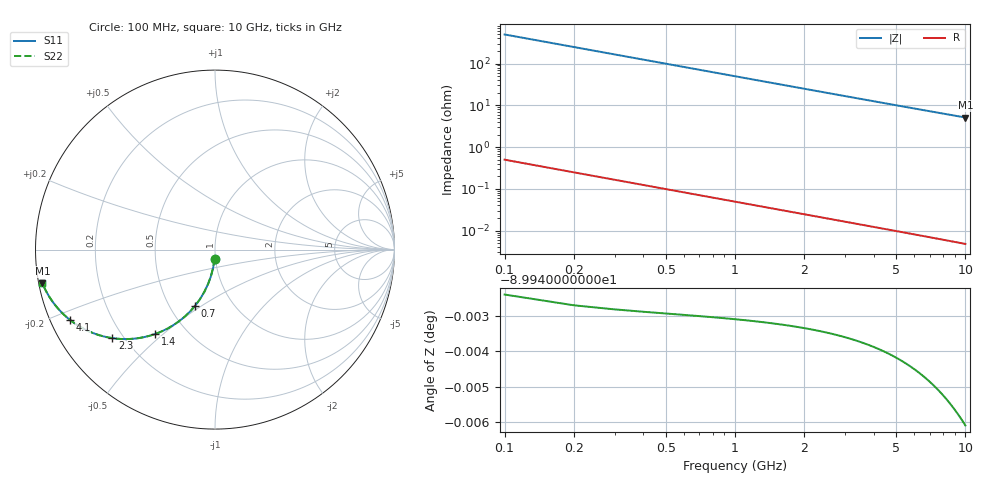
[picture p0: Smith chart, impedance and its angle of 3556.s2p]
# Hz S RI R 50.00
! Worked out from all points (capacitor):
!   100 points, 100 MHz to 10 GHz, reference 50 ohm
!   read as one part in shunt: C = 3.21 pF near 100 MHz
!   lowest |Z| = 5.1 ohm at 10 GHz (marker M1)
!   S11 on the Smith chart (normalised r, x): 100 MHz: 0.99, -0.10; 700 MHz: 0.67, -0.47; 1.4 GHz: 0.34, -0.47; 2.3 GHz: 0.16, -0.36; 4.1 GHz: 0.06, -0.23; 10 GHz: 0.01, -0.10
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1e8  -0.00257 -0.0502  0.9974 -0.0503  0.9974 -0.0503  -0.00257 -0.0502
2e8  -0.0101 -0.0996  0.9898 -0.0998  0.9898 -0.0998  -0.0101 -0.0996
3e8  -0.0225 -0.1476  0.9775 -0.1478  0.9775 -0.1478  -0.0225 -0.1476
4e8  -0.0392 -0.1934  0.9608 -0.1937  0.9608 -0.1937  -0.0392 -0.1934
5e8  -0.0598 -0.2365  0.9401 -0.2369  0.9401 -0.2369  -0.0598 -0.2365
6e8  -0.0839 -0.2765  0.9161 -0.277  0.9161 -0.277  -0.0839 -0.2765
7e8  -0.1107 -0.313  0.8892 -0.3136  0.8892 -0.3136  -0.1107 -0.313
8e8  -0.1398 -0.346  0.8602 -0.3467  0.8602 -0.3467  -0.1398 -0.346
1e9  -0.2024 -0.4008  0.7976 -0.4017  0.7976 -0.4017  -0.2024 -0.4008
1.2e9  -0.2674 -0.4416  0.7326 -0.4426  0.7326 -0.4426  -0.2674 -0.4416
1.4e9  -0.3317 -0.4697  0.6683 -0.471  0.6683 -0.471  -0.3317 -0.4697
1.6e9  -0.3931 -0.4872  0.6068 -0.4887  0.6068 -0.4887  -0.3931 -0.4872
1.8e9  -0.4503 -0.4962  0.5497 -0.4978  0.5497 -0.4978  -0.4503 -0.4962
2.3e9  -0.5717 -0.4933  0.4282 -0.4954  0.4282 -0.4954  -0.5717 -0.4933
2.8e9  -0.6639 -0.4706  0.3361 -0.4731  0.3361 -0.4731  -0.6639 -0.4706
3.4e9  -0.744 -0.4344  0.256 -0.4374  0.256 -0.4374  -0.744 -0.4344
4.1e9  -0.8083 -0.3912  0.1916 -0.3949  0.1916 -0.3949  -0.8083 -0.3912
5.1e9  -0.8669 -0.3369  0.1331 -0.3415  0.1331 -0.3415  -0.8669 -0.3369
5.8e9  -0.8937 -0.305  0.1062 -0.3103  0.1062 -0.3103  -0.8937 -0.305
6.7e9  -0.9181 -0.2706  0.0819 -0.2767  0.0819 -0.2767  -0.9181 -0.2706
8.4e9  -0.9462 -0.2211  0.0537 -0.2288  0.0537 -0.2288  -0.9462 -0.2211
1e10  -0.9615 -0.1872  0.0384 -0.1965  0.0384 -0.1965  -0.9615 -0.1872
